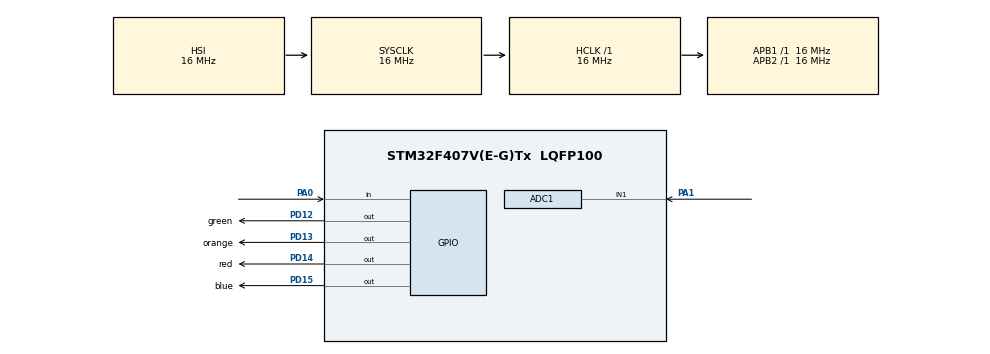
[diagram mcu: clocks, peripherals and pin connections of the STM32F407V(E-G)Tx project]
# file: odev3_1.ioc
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ADC1.Channel-0\#ChannelRegularConversion=ADC_CHANNEL_1
ADC1.ClockPrescaler=ADC_CLOCK_SYNC_PCLK_DIV8
ADC1.ContinuousConvMode=ENABLE
ADC1.NbrOfConversionFlag=1
ADC1.Rank-0\#ChannelRegularConversion=1
ADC1.Resolution=ADC_RESOLUTION_10B
ADC1.SamplingTime-0\#ChannelRegularConversion=ADC_SAMPLETIME_3CYCLES
ADC1.master=1
Mcu.Family=STM32F4
Mcu.Name=STM32F407V(E-G)Tx
Mcu.Package=LQFP100
NVIC.ADC_IRQn=true\:0\:0\:false\:false\:true\:true
NVIC.PriorityGroup=NVIC_PRIORITYGROUP_4
PA0-WKUP.Signal=GPIO_Input
PA1.Signal=ADCx_IN1
PD12.GPIO_Label=green
PD12.Signal=GPIO_Output
PD13.GPIO_Label=orange
PD13.Signal=GPIO_Output
PD14.GPIO_Label=red
PD14.Signal=GPIO_Output
PD15.GPIO_Label=blue
PD15.Signal=GPIO_Output
ProjectManager.HeapSize=0x200
ProjectManager.StackSize=0x400
ProjectManager.TargetToolchain=MDK-ARM V5
RCC.AHBFreq_Value=16000000
RCC.APB1Freq_Value=16000000
RCC.APB2Freq_Value=16000000
RCC.CortexFreq_Value=16000000
RCC.HSE_VALUE=25000000
RCC.HSI_VALUE=16000000
RCC.LSE_VALUE=32768
RCC.SYSCLKFreq_VALUE=16000000
RCC.VCOOutputFreq_Value=192000000
SH.ADCx_IN1.0=ADC1_IN1,IN1
board=odev3_1

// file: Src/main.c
/**
  ******************************************************************************
  * @file           : main.c
  * @brief          : Main program body
  ******************************************************************************
  ** This notice applies to any and all portions of this file
  * that are not between comment pairs USER CODE BEGIN and
  * USER CODE END. Other portions of this file, whether
  * inserted by the user or by software development tools
  * are owned by their respective copyright owners.
  *
  * COPYRIGHT(c) 2018 STMicroelectronics
  *
  * Redistribution and use in source and binary forms, with or without modification,
  * are permitted provided that the following conditions are met:
  *   1. Redistributions of source code must retain the above copyright notice,
  *      this list of conditions and the following disclaimer.
  *   2. Redistributions in binary form must reproduce the above copyright notice,
  *      this list of conditions and the following disclaimer in the documentation
  *      and/or other materials provided with the distribution.
  *   3. Neither the name of STMicroelectronics nor the names of its contributors
  *      may be used to endorse or promote products derived from this software
  *      without specific prior written permission.
  *
  * THIS SOFTWARE IS PROVIDED BY THE COPYRIGHT HOLDERS AND CONTRIBUTORS "AS IS"
  * AND ANY EXPRESS OR IMPLIED WARRANTIES, INCLUDING, BUT NOT LIMITED TO, THE
  * IMPLIED WARRANTIES OF MERCHANTABILITY AND FITNESS FOR A PARTICULAR PURPOSE ARE
  * DISCLAIMED. IN NO EVENT SHALL THE COPYRIGHT HOLDER OR CONTRIBUTORS BE LIABLE
  * FOR ANY DIRECT, INDIRECT, INCIDENTAL, SPECIAL, EXEMPLARY, OR CONSEQUENTIAL
  * DAMAGES (INCLUDING, BUT NOT LIMITED TO, PROCUREMENT OF SUBSTITUTE GOODS OR
  * SERVICES; LOSS OF USE, DATA, OR PROFITS; OR BUSINESS INTERRUPTION) HOWEVER
  * CAUSED AND ON ANY THEORY OF LIABILITY, WHETHER IN CONTRACT, STRICT LIABILITY,
  * OR TORT (INCLUDING NEGLIGENCE OR OTHERWISE) ARISING IN ANY WAY OUT OF THE USE
  * OF THIS SOFTWARE, EVEN IF ADVISED OF THE POSSIBILITY OF SUCH DAMAGE.
  *
  ******************************************************************************
  */
#include "main.h"
#include "stm32f4xx_hal.h"

ADC_HandleTypeDef hadc1;
int adcVal;
/* USER CODE BEGIN PV */
/* Private variables ---------------------------------------------------------*/

/* USER CODE END PV */

void SystemClock_Config(void);
static void MX_GPIO_Init(void);
static void MX_ADC1_Init(void);

/* USER CODE BEGIN PFP */
/* Private function prototypes -----------------------------------------------*/

/* USER CODE END PFP */

/* USER CODE BEGIN 0 */
	void ADC_IRQHandler(void)
{
  /* USER CODE BEGIN ADC_IRQn 0 */
adcVal=HAL_ADC_GetValue(&hadc1);
	//	 HAL_Delay(500); //  buraya koyunca resrt butonuna basilinca deger okunur !
	HAL_ADC_Start_IT(&hadc1);
	//	 HAL_Delay(500); //  buraya koyunca resrt butonuna basilinca deger okunur !
  /* USER CODE END ADC_IRQn 0 */
  HAL_ADC_IRQHandler(&hadc1);
  /* USER CODE BEGIN ADC_IRQn 1 */

  /* USER CODE END ADC_IRQn 1 */
}
/* USER CODE END 0 */

int main(void)
{

  /* MCU Configuration----------------------------------------------------------*/

  /* Reset of all peripherals, Initializes the Flash interface and the Systick. */
  HAL_Init();

  /* Configure the system clock */
  SystemClock_Config();

  /* Initialize all configured peripherals */
  MX_GPIO_Init();
  MX_ADC1_Init();
  /* USER CODE BEGIN 2 */
	HAL_ADC_Start_IT(&hadc1);  // ******** onemli (ilk cevrim)

  /* USER CODE END 2 */

  /* Infinite loop */
  while (1)
  {

  /* USER CODE BEGIN 3 */
if(adcVal <= 255){
HAL_GPIO_WritePin(GPIOD,red_Pin,GPIO_PIN_SET);
	HAL_GPIO_WritePin(GPIOD,orange_Pin|blue_Pin|green_Pin,GPIO_PIN_RESET);
}else if(adcVal >=256 && adcVal <=511 ){
HAL_GPIO_WritePin(GPIOD,orange_Pin,GPIO_PIN_SET);
	HAL_GPIO_WritePin(GPIOD,red_Pin|blue_Pin|green_Pin,GPIO_PIN_RESET);
}else if(adcVal >=512 && adcVal <=767){
HAL_GPIO_WritePin(GPIOD,blue_Pin,GPIO_PIN_SET);
	HAL_GPIO_WritePin(GPIOD,orange_Pin|red_Pin|green_Pin,GPIO_PIN_RESET);
}else if(adcVal >=767 ){
HAL_GPIO_WritePin(GPIOD,green_Pin,GPIO_PIN_SET);
	HAL_GPIO_WritePin(GPIOD,orange_Pin|blue_Pin|red_Pin,GPIO_PIN_RESET);
}
	 HAL_Delay(500); //en iyisi

  }
  /* USER CODE END 3 */

}

void SystemClock_Config(void)
{

  RCC_OscInitTypeDef RCC_OscInitStruct;
  RCC_ClkInitTypeDef RCC_ClkInitStruct;

    /**Configure the main internal regulator output voltage
    */
  __HAL_RCC_PWR_CLK_ENABLE();

  __HAL_PWR_VOLTAGESCALING_CONFIG(PWR_REGULATOR_VOLTAGE_SCALE1);

    /**Initializes the CPU, AHB and APB busses clocks
    */
  RCC_OscInitStruct.OscillatorType = RCC_OSCILLATORTYPE_HSI;
  RCC_OscInitStruct.HSIState = RCC_HSI_ON;
  RCC_OscInitStruct.HSICalibrationValue = 16;
  RCC_OscInitStruct.PLL.PLLState = RCC_PLL_NONE;
  if (HAL_RCC_OscConfig(&RCC_OscInitStruct) != HAL_OK)
  {
    _Error_Handler(__FILE__, __LINE__);
  }

    /**Initializes the CPU, AHB and APB busses clocks
    */
  RCC_ClkInitStruct.ClockType = RCC_CLOCKTYPE_HCLK|RCC_CLOCKTYPE_SYSCLK
                              |RCC_CLOCKTYPE_PCLK1|RCC_CLOCKTYPE_PCLK2;
  RCC_ClkInitStruct.SYSCLKSource = RCC_SYSCLKSOURCE_HSI;
  RCC_ClkInitStruct.AHBCLKDivider = RCC_SYSCLK_DIV1;
  RCC_ClkInitStruct.APB1CLKDivider = RCC_HCLK_DIV1;
  RCC_ClkInitStruct.APB2CLKDivider = RCC_HCLK_DIV1;

  if (HAL_RCC_ClockConfig(&RCC_ClkInitStruct, FLASH_LATENCY_0) != HAL_OK)
  {
    _Error_Handler(__FILE__, __LINE__);
  }

    /**Configure the Systick interrupt time
    */
  HAL_SYSTICK_Config(HAL_RCC_GetHCLKFreq()/1000);

    /**Configure the Systick
    */
  HAL_SYSTICK_CLKSourceConfig(SYSTICK_CLKSOURCE_HCLK);

  /* SysTick_IRQn interrupt configuration */
  HAL_NVIC_SetPriority(SysTick_IRQn, 0, 0);
}

/* ADC1 init function */
static void MX_ADC1_Init(void)
{

  ADC_ChannelConfTypeDef sConfig;

    /**Configure the global features of the ADC (Clock, Resolution, Data Alignment and number of conversion)
    */
  hadc1.Instance = ADC1;
  hadc1.Init.ClockPrescaler = ADC_CLOCK_SYNC_PCLK_DIV8;
  hadc1.Init.Resolution = ADC_RESOLUTION_10B;
  hadc1.Init.ScanConvMode = DISABLE;
  hadc1.Init.ContinuousConvMode = ENABLE;
  hadc1.Init.DiscontinuousConvMode = DISABLE;
  hadc1.Init.ExternalTrigConvEdge = ADC_EXTERNALTRIGCONVEDGE_NONE;
  hadc1.Init.ExternalTrigConv = ADC_SOFTWARE_START;
  hadc1.Init.DataAlign = ADC_DATAALIGN_RIGHT;
  hadc1.Init.NbrOfConversion = 1;
  hadc1.Init.DMAContinuousRequests = DISABLE;
  hadc1.Init.EOCSelection = ADC_EOC_SINGLE_CONV;
  if (HAL_ADC_Init(&hadc1) != HAL_OK)
  {
    _Error_Handler(__FILE__, __LINE__);
  }

    /**Configure for the selected ADC regular channel its corresponding rank in the sequencer and its sample time.
    */
  sConfig.Channel = ADC_CHANNEL_1;
  sConfig.Rank = 1;
  sConfig.SamplingTime = ADC_SAMPLETIME_3CYCLES;
  if (HAL_ADC_ConfigChannel(&hadc1, &sConfig) != HAL_OK)
  {
    _Error_Handler(__FILE__, __LINE__);
  }

}

/** Configure pins as
        * Analog
        * Input
        * Output
        * EVENT_OUT
        * EXTI
*/
static void MX_GPIO_Init(void)
{

  GPIO_InitTypeDef GPIO_InitStruct;

  /* GPIO Ports Clock Enable */
  __HAL_RCC_GPIOA_CLK_ENABLE();
  __HAL_RCC_GPIOD_CLK_ENABLE();

  /*Configure GPIO pin Output Level */
  HAL_GPIO_WritePin(GPIOD, green_Pin|orange_Pin|red_Pin|blue_Pin, GPIO_PIN_RESET);

  /*Configure GPIO pin : PA0 */
  GPIO_InitStruct.Pin = GPIO_PIN_0;
  GPIO_InitStruct.Mode = GPIO_MODE_INPUT;
  GPIO_InitStruct.Pull = GPIO_NOPULL;
  HAL_GPIO_Init(GPIOA, &GPIO_InitStruct);

  /*Configure GPIO pins : green_Pin orange_Pin red_Pin blue_Pin */
  GPIO_InitStruct.Pin = green_Pin|orange_Pin|red_Pin|blue_Pin;
  GPIO_InitStruct.Mode = GPIO_MODE_OUTPUT_PP;
  GPIO_InitStruct.Pull = GPIO_NOPULL;
  GPIO_InitStruct.Speed = GPIO_SPEED_FREQ_LOW;
  HAL_GPIO_Init(GPIOD, &GPIO_InitStruct);

}

void _Error_Handler(char *file, int line)
{
  while(1)
  {
  }
}

/************************ (C) COPYRIGHT STMicroelectronics *****END OF FILE****/
